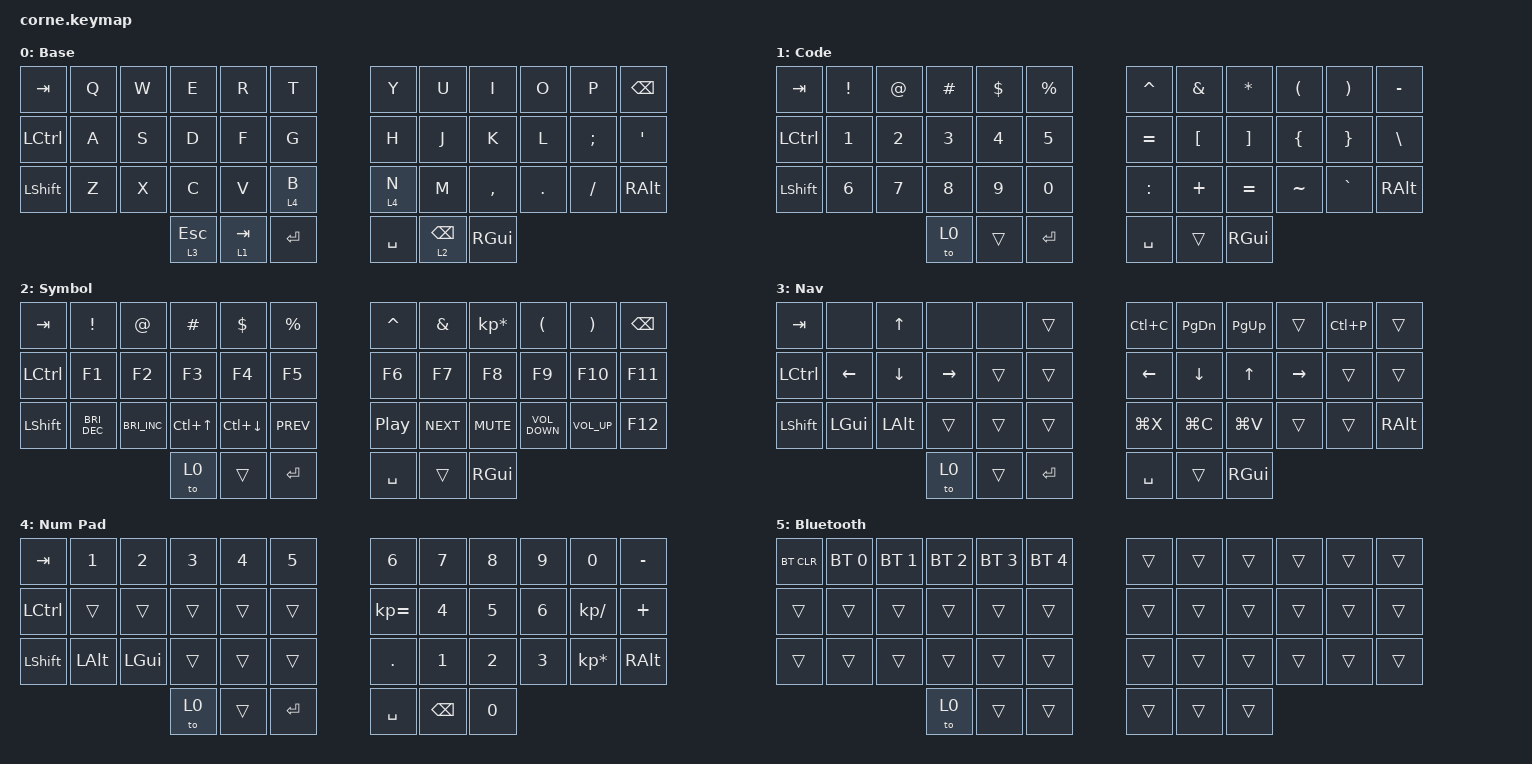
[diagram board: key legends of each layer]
/*
 * Copyright (c) 2020 The ZMK Contributors
 *
 * SPDX-License-Identifier: MIT
 */

#include <behaviors.dtsi>
#include <dt-bindings/zmk/bt.h>
#include <dt-bindings/zmk/keys.h>

/ {
    combos {
        compatible = "zmk,combos";

        to_num {
            bindings = <&to 4>;
            key-positions = <28 29>;
        };

        to_bt {
            bindings = <&to 5>;
            key-positions = <29 5>;
        };

        to_nav {
            bindings = <&to 3>;
            key-positions = <28 27>;
        };

        to_code {
            bindings = <&to 1>;
            key-positions = <27 26>;
        };

        to_func {
            bindings = <&to 2>;
            key-positions = <26 25>;
        };
    };

    keymap {
        compatible = "zmk,keymap";

        default_layer {
            // -----------------------------------------------------------------------------------------
            // |  TAB |  Q  |  W  |  E  |  R  |  T  |   |  Y  |  U   |  I  |  O  |  P  | BKSP |
            // | CTRL |  A  |  S  |  D  |  F  |  G  |   |  H  |  J   |  K  |  L  |  ;  |  '   |
            // | SHFT |  Z  |  X  |  C  |  V  |  B  |   |  N  |  M   |  ,  |  .  |  /  | ESC  |
            //                    | GUI | LWR | SPC |   | ENT | RSE  | ALT |

            label = "Base";
            bindings = <
&kp TAB    &kp Q  &kp W  &kp E         &kp R      &kp T         &kp Y      &kp U       &kp I      &kp O    &kp P     &kp BSPC
&kp LCTRL  &kp A  &kp S  &kp D         &kp F      &kp G         &kp H      &kp J       &kp K      &kp L    &kp SEMI  &kp SQT
&kp LSHFT  &kp Z  &kp X  &kp C         &kp V      &lt 4 B       &lt 4 N    &kp M       &kp COMMA  &kp DOT  &kp FSLH  &kp RALT
                         &lt 3 ESCAPE  &lt 1 TAB  &kp RETURN    &kp SPACE  &lt 2 BSPC  &kp RGUI
            >;
        };

        lower_layer {
            // -----------------------------------------------------------------------------------------
            // |  TAB |  1  |  2  |  3  |  4  |  5  |   |  6  |  7  |  8  |  9  |  0  | BKSP |
            // | BTCLR| BT1 | BT2 | BT3 | BT4 | BT5 |   | LFT | DWN |  UP | RGT |     |      |
            // | SHFT |     |     |     |     |     |   |     |     |     |     |     |      |
            //                    | GUI |     | SPC |   | ENT |     | ALT |

            label = "Code";
            bindings = <
&kp TAB    &kp EXCL  &kp AT  &kp POUND  &kp DLLR  &kp PRCNT     &kp CARET  &kp AMPS  &kp ASTRK      &kp LPAR   &kp RPAR   &kp MINUS
&kp LCTRL  &kp N1    &kp N2  &kp N3     &kp N4    &kp N5        &kp EQUAL  &kp LBKT  &kp RBKT       &kp LBRC   &kp RBRC   &kp BSLH
&kp LSHFT  &kp N6    &kp N7  &kp N8     &kp N9    &kp N0        &kp COLON  &kp PLUS  &kp EQUAL      &kp TILDE  &kp GRAVE  &kp RALT
                             &to 0      &trans    &kp RETURN    &kp SPACE  &trans    &kp RIGHT_GUI
            >;
        };

        raise_layer {
            // -----------------------------------------------------------------------------------------
            // |  TAB |  !  |  @  |  #  |  $  |  %  |   |  ^  |  &  |  *  |  (  |  )  | BKSP |
            // | CTRL |     |     |     |     |     |   |  -  |  =  |  [  |  ]  |  \  |  `   |
            // | SHFT |     |     |     |     |     |   |  _  |  +  |  {  |  }  | "|" |  ~   |
            //                    | GUI |     | SPC |   | ENT |     | ALT |

            label = "Symbol";
            bindings = <
&kp TAB    &kp EXCL              &kp AT                &kp HASH          &kp DLLR      &kp PRCNT     &kp CARET         &kp AMPS    &kp KP_MULTIPLY  &kp LPAR           &kp RPAR         &kp BSPC
&kp LCTRL  &kp F1                &kp F2                &kp F3            &kp F4        &kp F5        &kp F6            &kp F7      &kp F8           &kp F9             &kp F10          &kp F11
&kp LSHFT  &kp C_BRIGHTNESS_DEC  &kp C_BRIGHTNESS_INC  &kp LC(UP_ARROW)  &kp LC(DOWN)  &kp C_PREV    &kp C_PLAY_PAUSE  &kp C_NEXT  &kp C_MUTE       &kp C_VOLUME_DOWN  &kp C_VOLUME_UP  &kp F12
                                                       &to 0             &trans        &kp RETURN    &kp SPACE         &trans      &kp RIGHT_GUI
            >;
        };

        layer_3 {
            label = "Nav";
            bindings = <
&kp TAB     &none           &kp UP    &none      &none   &trans       &kp LC(C)  &kp PG_DN  &kp PG_UP      &trans     &kp LC(P)  &trans
&kp LCTRL   &kp LEFT_ARROW  &kp DOWN  &kp RIGHT  &trans  &trans       &kp LEFT   &kp DOWN   &kp UP         &kp RIGHT  &trans     &trans
&kp LSHIFT  &kp LEFT_GUI    &kp LALT  &trans     &trans  &trans       &kp LG(X)  &kp LG(C)  &kp LG(V)      &trans     &trans     &kp RALT
                                      &to 0      &trans  &kp ENTER    &kp SPACE  &trans     &kp RIGHT_GUI
            >;
        };

        layer_4 {
            label = "Num Pad";
            bindings = <
&kp TAB    &kp N1    &kp N2        &kp N3  &kp N4  &kp N5       &kp N6        &kp N7         &kp N8  &kp N9  &kp N0           &kp MINUS
&kp LCTRL  &trans    &trans        &trans  &trans  &trans       &kp KP_EQUAL  &kp N4         &kp N5  &kp N6  &kp KP_DIVIDE    &kp PLUS
&kp LSHFT  &kp LALT  &kp LEFT_GUI  &trans  &trans  &trans       &kp PERIOD    &kp N1         &kp N2  &kp N3  &kp KP_MULTIPLY  &kp RALT
                                   &to 0   &trans  &kp ENTER    &kp SPACE     &kp BACKSPACE  &kp N0
            >;
        };

        layer_5 {
            label = "Bluetooth";
            bindings = <
&bt BT_CLR  &bt BT_SEL 0  &bt BT_SEL 1  &bt BT_SEL 2  &bt BT_SEL 3  &bt BT_SEL 4    &trans  &trans  &trans  &trans  &trans  &trans
&trans      &trans        &trans        &trans        &trans        &trans          &trans  &trans  &trans  &trans  &trans  &trans
&trans      &trans        &trans        &trans        &trans        &trans          &trans  &trans  &trans  &trans  &trans  &trans
                                        &to 0         &trans        &trans          &trans  &trans  &trans
            >;
        };
    };
};
